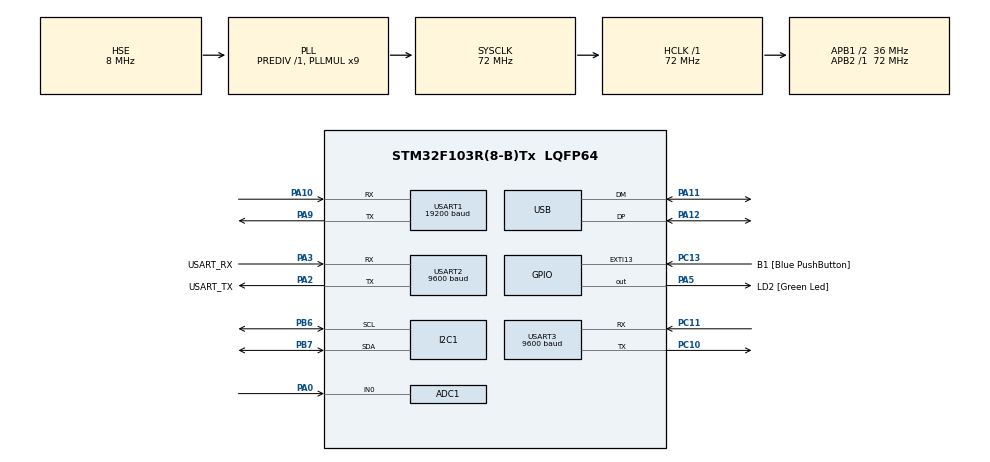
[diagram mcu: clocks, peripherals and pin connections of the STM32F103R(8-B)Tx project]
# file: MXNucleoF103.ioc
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ADC1.Channel-4\#ChannelRegularConversion=ADC_CHANNEL_0
ADC1.NbrOfConversionFlag=1
ADC1.Rank-4\#ChannelRegularConversion=1
ADC1.SamplingTime-4\#ChannelRegularConversion=ADC_SAMPLETIME_1CYCLE_5
ADC1.master=1
Mcu.Family=STM32F1
Mcu.Name=STM32F103R(8-B)Tx
Mcu.Package=LQFP64
NVIC.PriorityGroup=NVIC_PRIORITYGROUP_4
NVIC.USB_LP_CAN1_RX0_IRQn=true\:0\:0\:false\:false\:true
PA0-WKUP.Signal=ADCx_IN0
PA10.Mode=Asynchronous
PA10.Signal=USART1_RX
PA11.Mode=Device
PA11.Signal=USB_DM
PA12.Mode=Device
PA12.Signal=USB_DP
PA13.Mode=Serial_Wire
PA13.Signal=SYS_JTMS-SWDIO
PA14.GPIO_Label=TCK
PA14.Mode=Serial_Wire
PA14.Signal=SYS_JTCK-SWCLK
PA2.GPIO_Label=USART_TX
PA2.GPIO_Mode=GPIO_MODE_AF_PP
PA2.GPIO_PuPd=GPIO_NOPULL
PA2.GPIO_Speed=GPIO_SPEED_FREQ_LOW
PA2.Mode=Asynchronous
PA2.Signal=USART2_TX
PA3.GPIO_Label=USART_RX
PA3.GPIO_Mode=GPIO_MODE_AF_PP
PA3.GPIO_PuPd=GPIO_NOPULL
PA3.GPIO_Speed=GPIO_SPEED_FREQ_LOW
PA3.Mode=Asynchronous
PA3.Signal=USART2_RX
PA5.GPIO_Label=LD2 [Green Led]
PA5.GPIO_ModeDefaultOutputPP=GPIO_MODE_OUTPUT_PP
PA5.GPIO_PuPd=GPIO_NOPULL
PA5.GPIO_Speed=GPIO_SPEED_FREQ_LOW
PA5.Signal=GPIO_Output
PA9.Mode=Asynchronous
PA9.Signal=USART1_TX
PB3.GPIO_Label=SWO
PB3.Signal=SYS_JTDO-TRACESWO
PB6.Mode=I2C
PB6.Signal=I2C1_SCL
PB7.Mode=I2C
PB7.Signal=I2C1_SDA
PC10.Mode=Asynchronous
PC10.Signal=USART3_TX
PC11.Mode=Asynchronous
PC11.Signal=USART3_RX
PC13-TAMPER-RTC.GPIO_Label=B1 [Blue PushButton]
PC13-TAMPER-RTC.GPIO_ModeDefaultEXTI=GPIO_MODE_EVT_RISING
PC13-TAMPER-RTC.GPIO_PuPd=GPIO_NOPULL
PC13-TAMPER-RTC.Signal=GPXTI13
PC14-OSC32_IN.Signal=RCC_OSC32_IN
PC15-OSC32_OUT.Signal=RCC_OSC32_OUT
PD0-OSC_IN.Mode=HSE-External-Oscillator
PD0-OSC_IN.Signal=RCC_OSC_IN
PD1-OSC_OUT.Mode=HSE-External-Oscillator
PD1-OSC_OUT.Signal=RCC_OSC_OUT
ProjectManager.HeapSize=0x2a78
ProjectManager.StackSize=0xe20
ProjectManager.TargetToolchain=SW4STM32
RCC.ADCPresc=RCC_ADCPCLK2_DIV6
RCC.AHBFreq_Value=72000000
RCC.APB1CLKDivider=RCC_HCLK_DIV2
RCC.APB1Freq_Value=36000000
RCC.APB1TimFreq_Value=72000000
RCC.APB2Freq_Value=72000000
RCC.APB2TimFreq_Value=72000000
RCC.HCLKFreq_Value=72000000
RCC.HSIState=RCC_HSI_ON
RCC.PLLMUL=RCC_PLL_MUL9
RCC.PLLSourceVirtual=RCC_PLLSOURCE_HSE
RCC.SYSCLKFreq_VALUE=72000000
RCC.SYSCLKSource=RCC_SYSCLKSOURCE_PLLCLK
RCC.USBFreq_Value=48000000
RCC.USBPrescaler=RCC_USBCLKSOURCE_PLL_DIV1_5
SH.ADCx_IN0.0=ADC1_IN0,IN0
USART1.BaudRate=19200
USART2.BaudRate=9600
USART3.BaudRate=9600
USB_DEVICE.CLASS_NAME_FS=CDC
USB_DEVICE.USBD_HandleTypeDef=hUsbDeviceFS
USB_DEVICE.VirtualMode=Cdc
USB_DEVICE.VirtualModeFS=Cdc_FS
VP_TIM1_VS_no_output1.Mode=Output Compare1 No Output
VP_USB_DEVICE_VS_USB_DEVICE_CDC_FS.Mode=CDC_FS
board=MXNucleoF103

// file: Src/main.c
/**
  ******************************************************************************
  * File Name          : main.c
  * Description        : Main program body
  ******************************************************************************
  *
  * COPYRIGHT(c) 2016 STMicroelectronics
  *
  * Redistribution and use in source and binary forms, with or without modification,
  * are permitted provided that the following conditions are met:
  *   1. Redistributions of source code must retain the above copyright notice,
  *      this list of conditions and the following disclaimer.
  *   2. Redistributions in binary form must reproduce the above copyright notice,
  *      this list of conditions and the following disclaimer in the documentation
  *      and/or other materials provided with the distribution.
  *   3. Neither the name of STMicroelectronics nor the names of its contributors
  *      may be used to endorse or promote products derived from this software
  *      without specific prior written permission.
  *
  * THIS SOFTWARE IS PROVIDED BY THE COPYRIGHT HOLDERS AND CONTRIBUTORS "AS IS"
  * AND ANY EXPRESS OR IMPLIED WARRANTIES, INCLUDING, BUT NOT LIMITED TO, THE
  * IMPLIED WARRANTIES OF MERCHANTABILITY AND FITNESS FOR A PARTICULAR PURPOSE ARE
  * DISCLAIMED. IN NO EVENT SHALL THE COPYRIGHT HOLDER OR CONTRIBUTORS BE LIABLE
  * FOR ANY DIRECT, INDIRECT, INCIDENTAL, SPECIAL, EXEMPLARY, OR CONSEQUENTIAL
  * DAMAGES (INCLUDING, BUT NOT LIMITED TO, PROCUREMENT OF SUBSTITUTE GOODS OR
  * SERVICES; LOSS OF USE, DATA, OR PROFITS; OR BUSINESS INTERRUPTION) HOWEVER
  * CAUSED AND ON ANY THEORY OF LIABILITY, WHETHER IN CONTRACT, STRICT LIABILITY,
  * OR TORT (INCLUDING NEGLIGENCE OR OTHERWISE) ARISING IN ANY WAY OUT OF THE USE
  * OF THIS SOFTWARE, EVEN IF ADVISED OF THE POSSIBILITY OF SUCH DAMAGE.
  *
  ******************************************************************************
  */
#include "stm32f1xx_hal.h"
#include "adc.h"
#include "i2c.h"
#include "tim.h"
#include "usart.h"
#include "usb_device.h"
#include "gpio.h"

/* USER CODE BEGIN Includes */
/*****************************************
 * Comment out (//...) only:
 *  #include "i2c.h"
 *  #include "spi.h"
 *  #include "usart.h"
 *  #include "usb_device.h"
 *****************************************/
#include "variant.h"
/* USER CODE END Includes */

/* USER CODE BEGIN PV */
// USBD_HandleTypeDef hUsbDevice_0 = hUsbDeviceFS;

/* USER CODE END PV */

void SystemClock_Config(void);
void Error_Handler(void);

/* USER CODE BEGIN PFP */

/*
 Sheepdoll from Arduino main()
*/

void init() __attribute__((weak));
void init() { }

/*
 Weak empty variant initialization function.
 May be redefined by variant files.
*/
void initVariant() __attribute__((weak));
void initVariant() { }

/*
	these are the defines for the hooks
	into the arduino system.
*/
void setup(void);
void loop(void);

/* USER CODE END PFP */

int main(void)
{

  /* MCU Configuration----------------------------------------------------------*/

  /* Reset of all peripherals, Initializes the Flash interface and the Systick. */
  HAL_Init();

  /* Configure the system clock */
  SystemClock_Config();

  /* Initialize all configured peripherals */
  MX_GPIO_Init();
  MX_I2C1_Init();
  MX_USART1_UART_Init();
  MX_USART2_UART_Init();
  MX_USART3_UART_Init();
  MX_USB_DEVICE_Init();
  MX_ADC1_Init();
  MX_TIM1_Init();

  /* USER CODE BEGIN 2 */
  //HAL_TIM_PWM_Init(&htim3);
  //HAL_TIM_PWM_Start(&htim3, TIM_CHANNEL_1);
  /*****************************************
   * Comment out (//...) only:
   *  MX_I2C1_Init();
   *  MX_SPI1_Init();
   *  MX_SPI2_Init();
   *  MX_USART1_UART_Init();
   *  MX_USART2_UART_Init();
   *  MX_USB_DEVICE_Init();
   *
   *****************************************/
#ifdef USE_USBSerial
 /**
  * Re-enumerate USB (PA12 pin)
  */
  // volatile unsigned int i;
  // GPIO_InitStruct.Pin = GPIO_PIN_12;
  // GPIO_InitStruct.Mode = GPIO_MODE_OUTPUT_PP;
  // GPIO_InitStruct.Speed = GPIO_SPEED_FREQ_LOW;
  // HAL_GPIO_Init(GPIOA, &GPIO_InitStruct);
	// HAL_GPIO_WritePin(GPIOA, GPIO_PIN_12, GPIO_PIN_RESET);
	// for(i=0;i<512;i++);
	// HAL_GPIO_WritePin(GPIOA, GPIO_PIN_12, GPIO_PIN_SET);
  /****************************************************/

  StartUSBSerial(); //Start USBSerial.
#endif
  /* these calls are from arduino main */

	init();

	initVariant();

	HAL_Delay(2000); 	/* Wait 7 seconds to enable a serial coms channel */

	/*
		Usart6 is linked to printf for diagnostic use It is also mapped to
		alternate function pins 12 and 14.  This code is adapted from
		the prinf demo in the STM32F401 Nucleo examples folder
	*/

	//printf("Serial backchannel enabled.\r\n");

  	/* Arduino optionally sets up USB callback stream here
#if defined(USBCON)
	USBDevice.attach();
#endif
	*/

	setup();

  /* USER CODE END 2 */

  /* Infinite loop */
  while (1)
  {

  /* USER CODE BEGIN 3 */
	loop();
	/* Arduino callback	if (serialEventRun) serialEventRun(); */

  }
  /* USER CODE END 3 */

}

/** System Clock Configuration
*/
void SystemClock_Config(void)
{

  RCC_OscInitTypeDef RCC_OscInitStruct;
  RCC_ClkInitTypeDef RCC_ClkInitStruct;
  RCC_PeriphCLKInitTypeDef PeriphClkInit;

  RCC_OscInitStruct.OscillatorType = RCC_OSCILLATORTYPE_HSE;
  RCC_OscInitStruct.HSEState = RCC_HSE_ON;
  RCC_OscInitStruct.HSEPredivValue = RCC_HSE_PREDIV_DIV1;
  RCC_OscInitStruct.PLL.PLLState = RCC_PLL_ON;
  RCC_OscInitStruct.PLL.PLLSource = RCC_PLLSOURCE_HSE;
  RCC_OscInitStruct.PLL.PLLMUL = RCC_PLL_MUL9;
  if (HAL_RCC_OscConfig(&RCC_OscInitStruct) != HAL_OK)
  {
    Error_Handler();
  }

  RCC_ClkInitStruct.ClockType = RCC_CLOCKTYPE_HCLK|RCC_CLOCKTYPE_SYSCLK
                              |RCC_CLOCKTYPE_PCLK1|RCC_CLOCKTYPE_PCLK2;
  RCC_ClkInitStruct.SYSCLKSource = RCC_SYSCLKSOURCE_PLLCLK;
  RCC_ClkInitStruct.AHBCLKDivider = RCC_SYSCLK_DIV1;
  RCC_ClkInitStruct.APB1CLKDivider = RCC_HCLK_DIV2;
  RCC_ClkInitStruct.APB2CLKDivider = RCC_HCLK_DIV1;
  if (HAL_RCC_ClockConfig(&RCC_ClkInitStruct, FLASH_LATENCY_2) != HAL_OK)
  {
    Error_Handler();
  }

  PeriphClkInit.PeriphClockSelection = RCC_PERIPHCLK_ADC|RCC_PERIPHCLK_USB;
  PeriphClkInit.AdcClockSelection = RCC_ADCPCLK2_DIV6;
  PeriphClkInit.UsbClockSelection = RCC_USBCLKSOURCE_PLL_DIV1_5;
  if (HAL_RCCEx_PeriphCLKConfig(&PeriphClkInit) != HAL_OK)
  {
    Error_Handler();
  }

  HAL_SYSTICK_Config(HAL_RCC_GetHCLKFreq()/1000);

  HAL_SYSTICK_CLKSourceConfig(SYSTICK_CLKSOURCE_HCLK);

  /* SysTick_IRQn interrupt configuration */
  HAL_NVIC_SetPriority(SysTick_IRQn, 0, 0);
}

/* USER CODE BEGIN 4 */
void HAL_UART_RxCpltCallback(UART_HandleTypeDef *huart){
  //HAL_GPIO_TogglePin(GPIOA, GPIO_PIN_0); //Toggle the state of pin PA0
#ifdef USE_USART1
  if(huart->Instance == USART1){
    Rx1_Handler();
  }
#endif
#ifdef USE_USART2
  if(huart->Instance == USART2){
    Rx2_Handler();
  }
#endif
#ifdef USE_USART3
  if(huart->Instance == USART3){
    Rx3_Handler();
  }
#endif
}

void HAL_UART_TxCpltCallback(UART_HandleTypeDef *huart){
#ifdef USE_USART1
  if(huart->Instance == USART1)
    Tx1_Handler();
#endif
#ifdef USE_USART2
  if(huart->Instance == USART2)
    Tx2_Handler();
#endif
#ifdef USE_USART3
  if(huart->Instance == USART3)
    Tx3_Handler();
#endif
}

//void HAL_SPI_RxCpltCallback(SPI_HandleTypeDef *hspi){
//  //HAL_GPIO_TogglePin(GPIOC, GPIO_PIN_13);
//}

//void HAL_SPI_TxCpltCallback(SPI_HandleTypeDef *hspi){
//  //HAL_GPIO_TogglePin(GPIOC, GPIO_PIN_14);
//}

void HAL_I2C_MasterRxCpltCallback(I2C_HandleTypeDef *hi2c){
  //HAL_GPIO_TogglePin(GPIOC, GPIO_PIN_13);
}

void HAL_I2C_MasterTxCpltCallback(I2C_HandleTypeDef *hi2c){
  //HAL_GPIO_TogglePin(GPIOC, GPIO_PIN_13);
}

void HAL_ADC_ConvCpltCallback(ADC_HandleTypeDef* hadc){
	//HAL_GPIO_TogglePin(GPIOC, GPIO_PIN_13);
}

void HAL_TIM_PWM_PulseFinishedCallback(TIM_HandleTypeDef *htim){
	//HAL_GPIO_TogglePin(GPIOC, GPIO_PIN_13);
}

/* USER CODE END 4 */

void Error_Handler(void)
{
  while(1)
  {
  }
}

/************************ (C) COPYRIGHT STMicroelectronics *****END OF FILE****/
